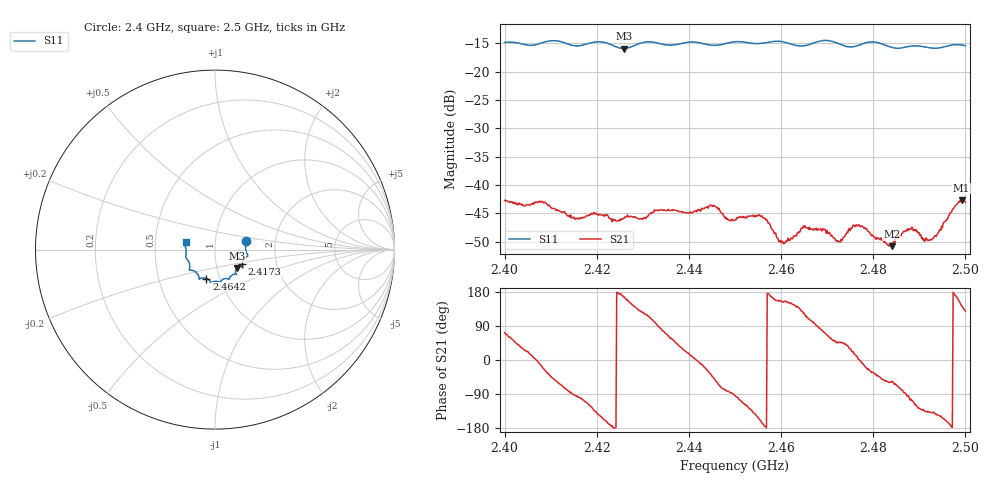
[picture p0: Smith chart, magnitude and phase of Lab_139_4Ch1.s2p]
# Hz S RI R 50
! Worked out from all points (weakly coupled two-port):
!   601 points, 2.4 GHz to 2.5 GHz, reference 50 ohm
!   highest |S21| = -42.66 dB at 2.4992 GHz (marker M1); lowest = -50.8 dB at 2.484 GHz (marker M2)
!   lowest |S11| = -15.9 dB at 2.4258 GHz (marker M3), VSWR 1.38, Z = 62.3 - j13.2 ohm
!   |S11| at or under -10 dB: start of sweep to end of sweep
!   S12 and S22 are empty: the file has one direction only
!   S11 on the Smith chart (normalised r, x): 2.4 GHz: 1.41, +0.14; 2.4173 GHz: 1.34, -0.23; 2.4642 GHz: 0.86, -0.29; 2.5 GHz: 0.72, +0.06
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2.4e9  0.1737 0.0491  0.00231 0.00694  0 0  0 0
2.4085e9  0.1797 -0.0251  0.00632 -0.00281  0 0  0 0
2.416667e9  0.153 -0.0743  -0.0011 -0.00498  0 0  0 0
2.417333e9  0.1522 -0.0821  -0.00166 -0.00488  0 0  0 0
2.425833e9  0.1217 -0.1034  -0.005 0.00108  0 0  0 0
2.433333e9  0.1135 -0.1371  0.000121 0.00598  0 0  0 0
2.440167e9  0.0786 -0.1646  0.00549 0.00141  0 0  0 0
2.445e9  0.0556 -0.1613  0.00487 -0.00447  0 0  0 0
2.45e9  0.0287 -0.1811  -0.000336 -0.0049  0 0  0 0
2.4555e9  -0.00237 -0.1771  -0.00495 -0.00189  0 0  0 0
2.460333e9  -0.0253 -0.1814  -0.00282 0.00145  0 0  0 0
2.464167e9  -0.0478 -0.1612  -0.00269 0.00285  0 0  0 0
2.466667e9  -0.0762 -0.1589  -0.000887 0.00398  0 0  0 0
2.4695e9  -0.0885 -0.1658  0.00128 0.00388  0 0  0 0
2.472333e9  -0.0887 -0.1537  0.00226 0.00229  0 0  0 0
2.477167e9  -0.1282 -0.1153  0.00428 -0.000118  0 0  0 0
2.483333e9  -0.1406 -0.0897  0.00148 -0.00249  0 0  0 0
2.484e9  -0.1412 -0.0823  0.0016 -0.0024  0 0  0 0
2.488e9  -0.1598 -0.0498  -0.00107 -0.00392  0 0  0 0
2.492667e9  -0.1603 -0.0181  -0.00249 -0.00216  0 0  0 0
2.499167e9  -0.1676 0.0381  -0.00593 0.00437  0 0  0 0
2.5e9  -0.1637 0.0424  -0.00446 0.00545  0 0  0 0
